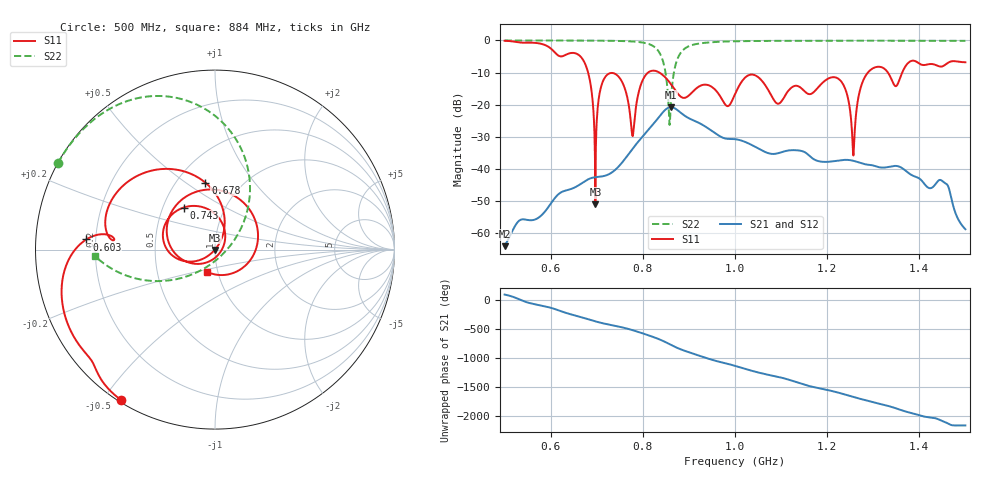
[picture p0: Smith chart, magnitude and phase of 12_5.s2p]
! TOUCHSTONE file generated by CST MICROWAVE STUDIO
! Date and time: Mon Nov 30 08:36:52 2020
! Project name: Scenario_1_Planar_Body_Tissue_Out_of_Line.cst
! Parameters = {dy1=-155.7; L_HA=400; Ltissue=700; MT=2.54; Rad_Dielectric=30; Rad_Lower=7.3; Rad_Upper=30; Wtissue=700; a_HA=580; a_WG=246; b_HA=500; b_WG=121; c_HA=0; c_WG=187; d_feed=85; dx1=866; h_feed=15; h_lower=18; h_upper=40; hfat=3; hgap=25; hmuscle=50; hskin=1.5}
! Header version: 2018
! Port assignment regex: !\s*Touchstone port\s*([0-9]+)\s*=\s*(CST MWS port|CST DS port)\s*([0-9]+|Zmin|Zmax)\s*\(\"(.*)\"\)(\s*mode\s*([0-9]+))?.*
! Touchstone port assignment:
! Touchstone port 1 = CST MWS port 1 ("")
! Touchstone port 2 = CST MWS port 2 ("")
# GHz S DB R 50
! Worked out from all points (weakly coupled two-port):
!   1003 points, 500 MHz to 1.5 GHz, reference 50 ohm
!   highest |S21| = -20.77 dB at 861 MHz (marker M1); lowest = -64.0 dB at 500 MHz (marker M2)
!   lowest |S11| = -51.0 dB at 697 MHz (marker M3), VSWR 1.01, Z = 49.8 - j0.21 ohm
!   |S11| at or under -10 dB: 681.2 MHz to 811.4 MHz (130.2 MHz wide, 17.4 % of centre); 835.8 MHz to 1.288 GHz (452.6 MHz wide, 42.6 % of centre); 1.332 GHz to 1.363 GHz (31.05 MHz wide, 2.3 % of centre)
!   |S22| runs from -26.3 to 0.0 dB; largest |S21 - S12| = 1.6e-05
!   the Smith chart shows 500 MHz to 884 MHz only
!   S11 on the Smith chart (normalised r, x): 500 MHz: 0.01, -0.55; 603 MHz: 0.16, +0.04; 678 MHz: 0.69, +0.60; 743 MHz: 0.64, +0.33; 884 MHz: 0.89, -0.22
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0.5  -0.11 -122.1  -64.04 101.9  -64.04 101.9  -0.01 151.2
0.603  -2.87 175.5  -50.23 -132.7  -50.23 -132.7  -0.02 143.9
0.667  -5.38 123.5  -44.49 70.8  -44.49 70.8  -0.04 138.4
0.678  -8.48 98.1  -43.48 45.1  -43.48 45.1  -0.05 137.3
0.697  -50.98 -131.7  -42.56 -0.6  -42.56 -0.6  -0.06 135.2
0.713  -12.84 -169.2  -42.28 -33.2  -42.28 -33.2  -0.08 133.3
0.743  -10.69 126.6  -39.89 -82.8  -39.89 -82.8  -0.14 128.8
0.778  -29.79 -43.6  -33.68 -152.7  -33.68 -152.7  -0.33 121.0
0.8  -12.26 178.0  -29.83 151.7  -29.83 151.7  -0.66 112.7
0.834  -9.85 73.4  -24.02 55.6  -24.02 55.6  -3.36 83.9
0.861  -13.62 -13.9  -20.77 -45.9  -20.77 -45.9  -18.88 -117.7
0.884  -17.67 -110.5  -22.70 -128.2  -22.70 -128.2  -3.50 -176.8
1  -16.74 108.4  -30.74 -47.5  -30.74 -47.5  -0.26 140.2
1.033  -10.67 -4.3  -32.31 -124.7  -32.31 -124.7  -0.19 136.2
1.092  -19.67 149.2  -35.16 125.9  -35.16 125.9  -0.13 130.4
1.167  -16.51 167.6  -36.58 -46.9  -36.58 -46.9  -0.09 124.2
1.228  -12.37 0.3  -37.30 -157.4  -37.30 -157.4  -0.09 119.5
1.257  -35.80 27.9  -37.47 136.2  -37.47 136.2  -0.08 117.3
1.283  -11.11 53.9  -38.56 81.0  -38.56 81.0  -0.09 115.4
1.334  -10.49 -18.1  -39.35 -22.2  -39.35 -22.2  -0.08 111.5
1.456  -7.60 -28.9  -44.44 61.9  -44.44 61.9  -0.11 101.8
1.5  -6.79 -45.7  -58.77 5.2  -58.77 5.2  -0.13 98.0
